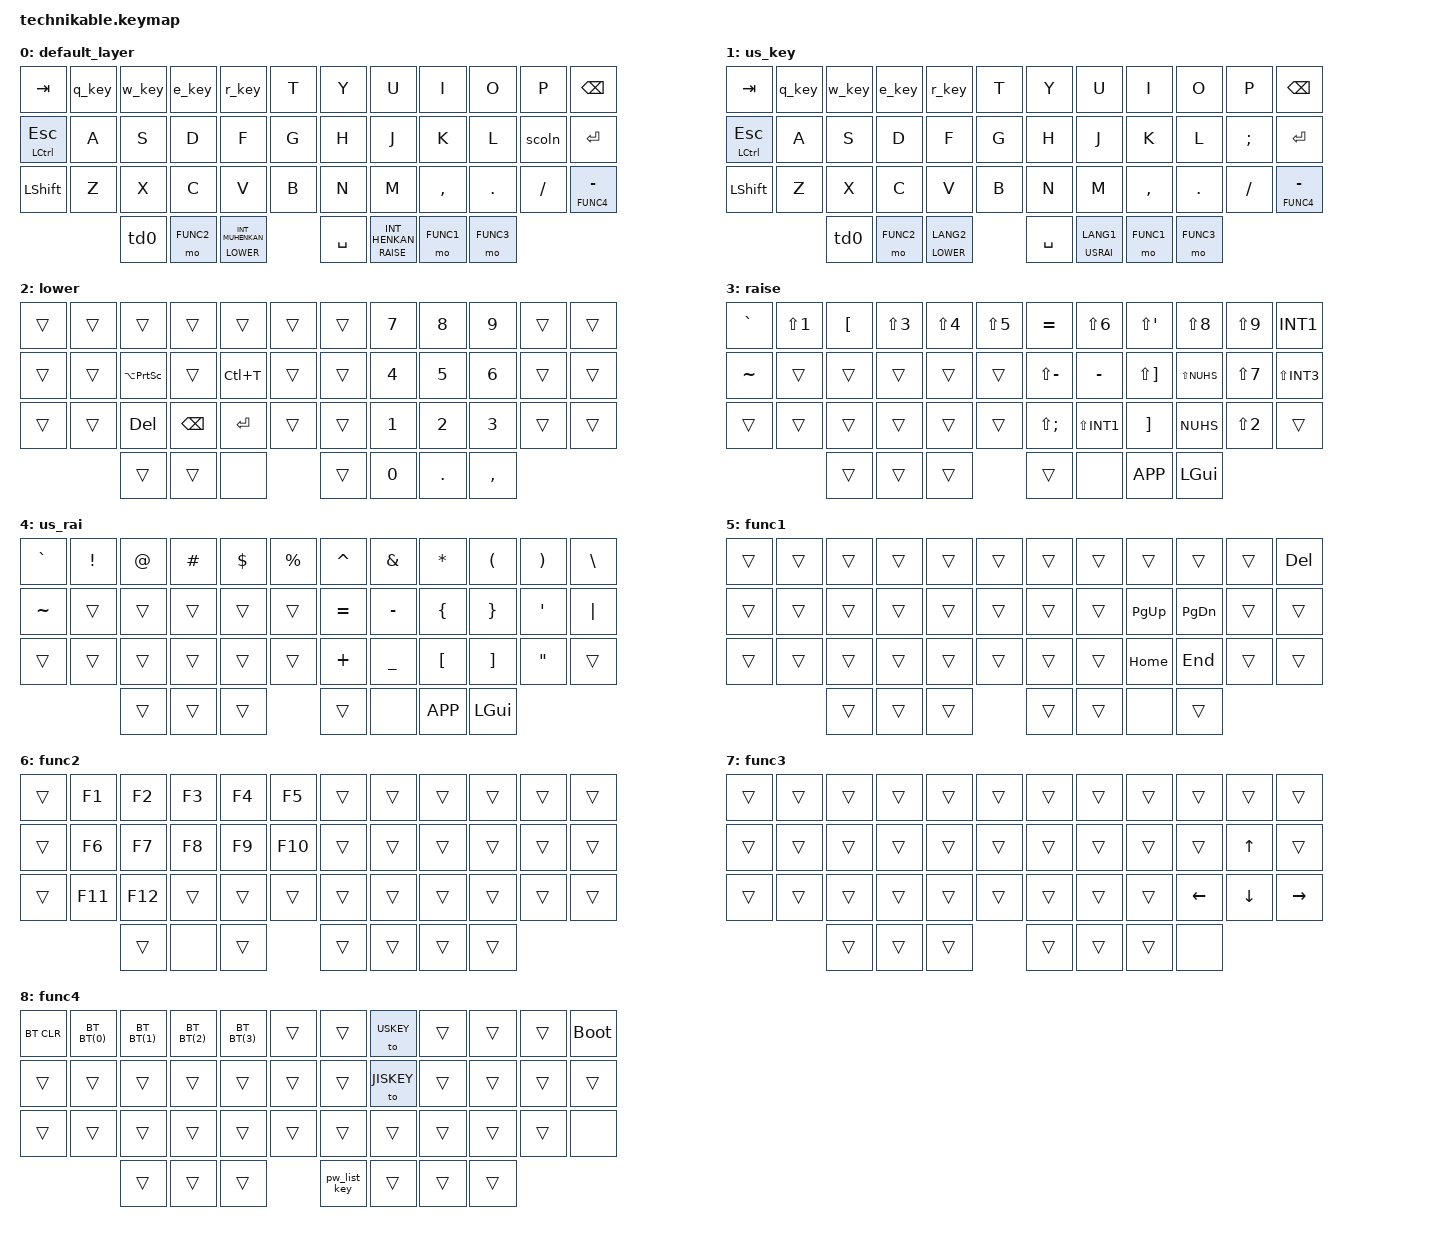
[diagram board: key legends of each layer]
/*
 * Copyright (c) 2022 Pete Johanson
 *
 * SPDX-License-Identifier: MIT
 */

#include <behaviors.dtsi>
#include <dt-bindings/zmk/keys.h>
#include <dt-bindings/zmk/bt.h>
#include <dt-bindings/zmk/outputs.h>

#define BT(n) BT_SEL n

#define JISKEY 0
#define USKEY 1
#define LOWER 2
#define RAISE 3
#define USRAI 4
#define FUNC1 5
#define FUNC2 6
#define FUNC3 7
#define FUNC4 8


#define __________	&trans
#define XXXXXXXXXX	&none

/* for JIS */
#define LO_MUHE		&lt LOWER INT_MUHENKAN
#define RA_HENK		&lt RAISE INT_HENKAN
/* for US */
#define LO_US		&lt LOWER LANG2
#define RA_US		&lt USRAI LANG1

#define ESC_CTRL	&bhm LCTRL ESC
#define ASCRN		&kp LA(PSCRN)
#define TEAM_EDIT	&kp LS(LG(X))
#define F4_MINU		&lt FUNC4 MINUS



#define J_YEN		INT_YEN		// ¥

#define J_EXCL		LS(N1)		// !
#define J_AT		LBKT		// @
#define J_HASH		LS(N3)		// #
#define J_DLLR		LS(N4)		// $
#define J_PRCN		LS(N5)		// %
#define J_CARE		EQUAL		// ^
#define J_AMPS		LS(N6)		// &
#define J_ASTR		LS(SQT)		// *
#define J_LPAR		LS(N8)		// (
#define J_RPAR		LS(N9)		// )

#define J_EQL		LS(MINUS)	// =
#define J_LBRC		LS(RBKT)	// {
#define J_RBRC		LS(NUHS)	// }
#define J_SQT		LS(N7)		// '
#define J_BSLH		INT1		// (backslash)
#define J_PIPE		LS(INT3)	// |
#define J_PLUS		LS(SEMI)	// +
#define J_UNDE		LS(INT1)	// _
#define J_LBKT		RBKT		// [
#define J_RBKT		NUHS		// ]
#define J_DQT		LS(N2)		// "

#define J_COLN		SQT			// :


&lt {  // layer-tap config
    flavor = "tap-preferred";
    tapping-term-ms = <120>;
};

/ {
    chosen {
       zmk,matrix_transform =
                       &mit_transform;
    };

    conditional_layers {
        compatible = "zmk,conditional-layers";
    };

    behaviors {
        bhm: balanced_homerow_mods {
            compatible = "zmk,behavior-hold-tap";
            label = "HOMEROW_MODS";
            #binding-cells = <2>;
            tapping-term-ms = <120>;
            quick-tap-ms = <0>;
            flavor = "hold-preferred";
            bindings = <&kp>, <&kp>;
        };
        scoln: mod_morph_scoln {
            compatible = "zmk,behavior-mod-morph";
            label = "MOD_MORPH_SCOLN";
            #binding-cells = <0>;
            bindings = <&kp SEMI>, <&kp J_COLN>; // [sft ;] ─› [JP :]
            mods = <(MOD_LSFT|MOD_RSFT)>;
        };
    };
#if 0
	/* : */
    combos {
        compatible = "zmk,combos";
        combo_esc {
            timeout-ms = <200>;
            key-positions = <24 22>;
            bindings = <&kp J_COLN>;
        };
    };
#endif
	/* win */
    behaviors {
        td0: tap_dance_0 {
            compatible = "zmk,behavior-tap-dance";
            label = "TAP_DANCE_0";
            #binding-cells = <0>;
            tapping-term-ms = <200>;
            bindings = <&kp LALT>, <&kp LGUI>;
        };
    };
    
    macros {
        q_list_key: q_list_key {
            label = "q_list_key";
            compatible = "zmk,behavior-macro";
            #binding-cells = <0>;
            wait-ms = <0>;
            tap-ms = <0>;
            bindings =
                <&kp N1>,
                <&kp Q>,
                <&kp A>,
                <&kp Z>;
        };
        w_list_key: w_list_key {
            label = "w_list_key";
            compatible = "zmk,behavior-macro";
            #binding-cells = <0>;
            wait-ms = <0>;
            tap-ms = <0>;
            bindings =
                <&kp N2>,
                <&kp W>,
                <&kp S>,
                <&kp X>;
        };
        e_list_key: e_list_key {
            label = "e_list_key";
            compatible = "zmk,behavior-macro";
            #binding-cells = <0>;
            wait-ms = <0>;
            tap-ms = <0>;
            bindings =
                <&kp N3>,
                <&kp E>,
                <&kp D>,
                <&kp C>;
        };
        r_list_key: r_list_key {
            label = "r_list_key";
            compatible = "zmk,behavior-macro";
            #binding-cells = <0>;
            wait-ms = <0>;
            tap-ms = <0>;
            bindings =
                <&macro_tap>,
                <&kp N4>,
                <&macro_tap>,
                <&kp R>,
                <&macro_tap>,
                <&kp F>,
                <&macro_tap>,
                <&kp V>;
        };
        pw_list_key: pw_list_key {
            label = "pw_list_key";
            compatible = "zmk,behavior-macro";
            #binding-cells = <0>;
            wait-ms = <0>;
            tap-ms = <0>;
            bindings =
                <&kp J_DQT>,
                <&kp W>,
                <&kp S>,
                <&kp X>,
                <&kp N3>,
                <&kp E>,
                <&kp D>,
                <&kp C>;
        };
    };
#if 0
    combos {
        compatible = "zmk,combos";
        combo_q_key {
            timeout-ms = <200>;
            key-positions = <12 1>;
            bindings = <&q_list_key>;
        };
        combo_w_key {
            timeout-ms = <200>;
            key-positions = <12 2>;
            bindings = <&w_list_key>;
        };
        combo_e_key {
            timeout-ms = <200>;
            key-positions = <12 3>;
            bindings = <&e_list_key>;
        };
        combo_r_key {
            timeout-ms = <200>;
            key-positions = <12 4>;
            bindings = <&r_list_key>;
        };
    };
#else
    behaviors {
        q_key: mod_morph_q_key {
            compatible = "zmk,behavior-mod-morph";
            label = "MOD_MORPH_Q_KEY";
            #binding-cells = <0>;
            bindings = <&kp Q>, <&q_list_key>;
            mods = <(MOD_LCTL|MOD_RCTL)>;
        };
        w_key: mod_morph_w_key {
            compatible = "zmk,behavior-mod-morph";
            label = "MOD_MORPH_W_KEY";
            #binding-cells = <0>;
            bindings = <&kp W>, <&w_list_key>;
            mods = <(MOD_LCTL|MOD_RCTL)>;
        };
        e_key: mod_morph_e_key {
            compatible = "zmk,behavior-mod-morph";
            label = "MOD_MORPH_E_KEY";
            #binding-cells = <0>;
            bindings = <&kp E>, <&e_list_key>;
            mods = <(MOD_LCTL|MOD_RCTL)>;
        };
        r_key: mod_morph_r_key {
            compatible = "zmk,behavior-mod-morph";
            label = "MOD_MORPH_R_KEY";
            #binding-cells = <0>;
            bindings = <&kp R>, <&r_list_key>;
            mods = <(MOD_LCTL|MOD_RCTL)>;
        };
    };
#endif
    keymap {
        compatible = "zmk,keymap";

		default_layer {
			// --------------------------------------------------------------------------------------------------------------------------------------
			// |  TAB     |  Q       |  W       |  E       |  R       |  T       |   Y      |  U       |  I       |  O       |   P      | BSPC      |
			// |  ESC/CTRL|  A       |  S       |  D       |  F       |  G       |   H      |  J       |  K       |  L       |   ;      |  RET      |
			// | SHIFT    |  Z       |  X       |  C       |  V       |  B       |   N      |  M       |  ,       |  .       |   /      |  -/F4     |
			//                       | LALT/Win | FUNC2    | LOWR     |     SPACE           |  RAIS    | FUNC1    | FUNC3    | 
			bindings = <
				&kp TAB    &q_key     &w_key     &e_key     &r_key     &kp T      &kp Y      &kp U      &kp I      &kp O      &kp P      &kp BSPC
				ESC_CTRL   &kp A      &kp S      &kp D      &kp F      &kp G      &kp H      &kp J      &kp K      &kp L      &scoln     &kp RET
				&kp LSHFT  &kp Z      &kp X      &kp C      &kp V      &kp B      &kp N      &kp M      &kp COMMA  &kp DOT    &kp SLASH  F4_MINU
				                      &td0       &mo FUNC2  LO_MUHE           &kp SPACE      RA_HENK    &mo FUNC1  &mo FUNC3
			>;
		};
		us_key {
			// -------------------------------------------------------------------------------------------------------------------------------------
			// |          |          |          |          |          |          |          |          |          |          |          |          |
			bindings = <
				&kp TAB    &q_key     &w_key     &e_key     &r_key     &kp T      &kp Y      &kp U      &kp I      &kp O      &kp P      &kp BSPC
				ESC_CTRL   &kp A      &kp S      &kp D      &kp F      &kp G      &kp H      &kp J      &kp K      &kp L      &kp SEMI   &kp RET
				&kp LSHFT  &kp Z      &kp X      &kp C      &kp V      &kp B      &kp N      &kp M      &kp COMMA  &kp DOT    &kp SLASH  F4_MINU
				                      &td0       &mo FUNC2  LO_US             &kp SPACE      RA_US      &mo FUNC1  &mo FUNC3
			>;
		};

		lower {
			// -------------------------------------------------------------------------------------------------------------------------------------
			// |          |          |          |          |          |          |          |          |          |          |          |          |
			bindings = <
				&trans     &trans     &trans     &trans     &trans     &trans     &trans     &kp N7     &kp N8     &kp N9     &trans     &trans
				&trans     &trans     ASCRN      &trans     &kp LC(T)  &trans     &trans     &kp N4     &kp N5     &kp N6     &trans     &trans
				&trans     &trans     &kp DEL    &kp BSPC   &kp RET    &trans     &trans     &kp N1     &kp N2     &kp N3     &trans     &trans
				                      &trans     &trans     XXXXXXXXXX        &trans         &kp N0     &kp DOT    &kp COMMA
			>;
		};

		raise {
			// -------------------------------------------------------------------------------------------------------------------------------------
			// |          |          |          |          |          |          |          |          |          |          |          |          |
			bindings = <
				&kp GRAVE  &kp J_EXCL &kp J_AT   &kp J_HASH &kp J_DLLR &kp J_PRCN &kp J_CARE &kp J_AMPS &kp J_ASTR &kp J_LPAR &kp J_RPAR &kp J_BSLH
				&kp TILDE  &trans     &trans     &trans     &trans     &trans     &kp J_EQL  &kp MINUS  &kp J_LBRC &kp J_RBRC &kp J_SQT  &kp J_PIPE
				&trans     &trans     &trans     &trans     &trans     &trans     &kp J_PLUS &kp J_UNDE &kp J_LBKT &kp J_RBKT &kp J_DQT  &trans
				                      &trans     &trans     &trans            &trans         XXXXXXXXXX &kp K_APP  &kp LGUI
			>;
		};

		us_rai {
			// -------------------------------------------------------------------------------------------------------------------------------------
			// |          |          |          |          |          |          |          |          |          |          |          |          |
			bindings = <
				&kp GRAVE  &kp EXCL   &kp AT     &kp HASH   &kp DLLR   &kp PRCNT  &kp CARET  &kp AMPS   &kp ASTRK  &kp LPAR   &kp RPAR   &kp BSLH
				&kp TILDE  &trans     &trans     &trans     &trans     &trans     &kp EQL    &kp MINUS  &kp LBRC   &kp RBRC   &kp SQT    &kp PIPE
				&trans     &trans     &trans     &trans     &trans     &trans     &kp PLUS   &kp UNDER  &kp LBKT   &kp RBKT   &kp DQT    &trans
				                      &trans     &trans     &trans            &trans         XXXXXXXXXX &kp K_APP  &kp LGUI
			>;
		};

		func1 {
			// -------------------------------------------------------------------------------------------------------------------------------------
			// |          |          |          |          |          |          |          |          |          |          |          |          |
			bindings = <
				&trans     &trans     &trans     &trans     &trans     &trans     &trans     &trans     &trans     &trans     &trans     &kp DEL
				&trans     &trans     &trans     &trans     &trans     &trans     &trans     &trans     &kp PG_UP  &kp PG_DN  &trans     &trans
				&trans     &trans     &trans     &trans     &trans     &trans     &trans     &trans     &kp HOME   &kp END    &trans     &trans
				                      &trans     &trans     &trans            &trans         &trans     XXXXXXXXXX &trans
			>;
		};
		
		func2 {
			// -------------------------------------------------------------------------------------------------------------------------------------
			// |          |          |          |          |          |          |          |          |          |          |          |          |
			bindings = <
				&trans     &kp F1     &kp F2     &kp F3     &kp F4     &kp F5     &trans     &trans     &trans     &trans     &trans     &trans
				&trans     &kp F6     &kp F7     &kp F8     &kp F9     &kp F10    &trans     &trans     &trans     &trans     &trans     &trans
				&trans     &kp F11    &kp F12    &trans     &trans     &trans     &trans     &trans     &trans     &trans     &trans     &trans
				                      &trans     XXXXXXXXXX &trans            &trans         &trans     &trans     &trans
			>;
		};
		func3 {
			// -------------------------------------------------------------------------------------------------------------------------------------
			// |          |          |          |          |          |          |          |          |          |          |          |          |
			bindings = <
				&trans     &trans     &trans     &trans     &trans     &trans     &trans     &trans     &trans     &trans     &trans     &trans
				&trans     &trans     &trans     &trans     &trans     &trans     &trans     &trans     &trans     &trans     &kp UP     &trans
				&trans     &trans     &trans     &trans     &trans     &trans     &trans     &trans     &trans     &kp LEFT   &kp DOWN   &kp RIGHT
				                      &trans     &trans     &trans            &trans         &trans     &trans     XXXXXXXXXX
			>;
		};
		func4 {
			// -------------------------------------------------------------------------------------------------------------------------------------
			// |          |          |          |          |          |          |          |          |          |          |          |          |
			bindings = <
				&bt BT_CLR &bt BT(0)  &bt BT(1)  &bt BT(2)  &bt BT(3)  &trans     &trans     &to USKEY  &trans     &trans     &trans     &bootloader
				&trans     &trans     &trans     &trans     &trans     &trans     &trans     &to JISKEY &trans     &trans     &trans     &trans
				&trans     &trans     &trans     &trans     &trans     &trans     &trans     &trans     &trans     &trans     &trans    XXXXXXXXXX
				                      &trans     &trans     &trans        &pw_list_key       &trans     &trans     &trans
			>;
		};
    };
};
